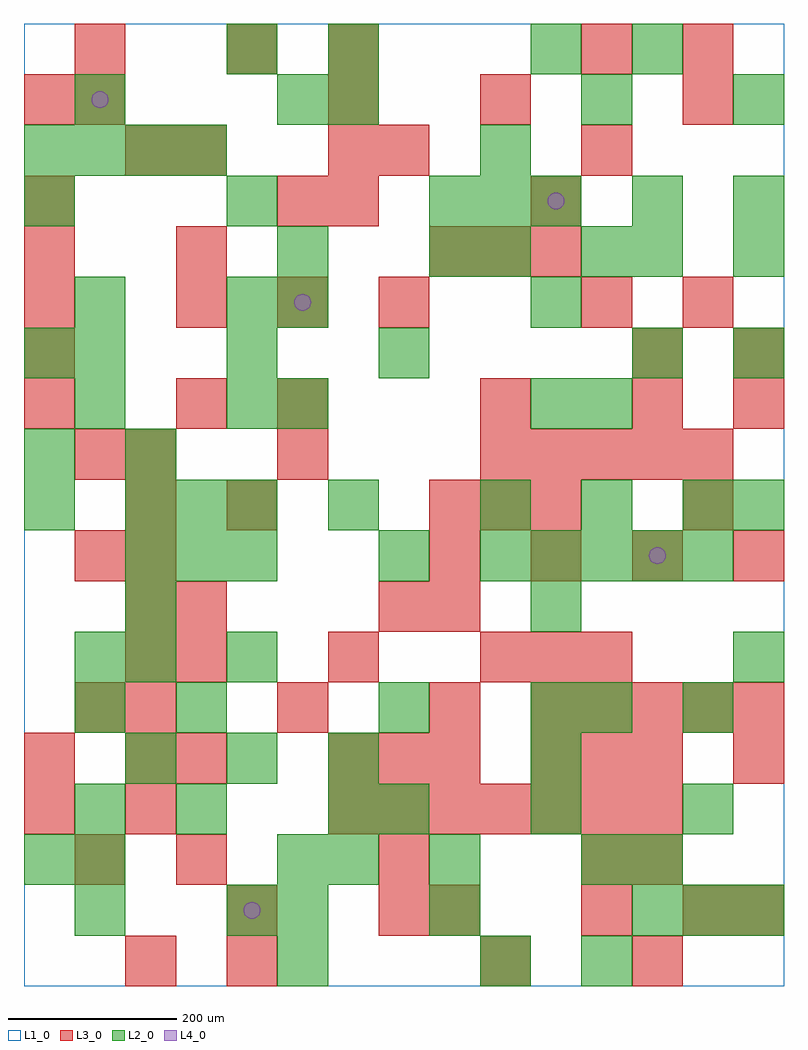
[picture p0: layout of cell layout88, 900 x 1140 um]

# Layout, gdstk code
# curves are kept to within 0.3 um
import gdstk
lib = gdstk.Library(unit=1e-6, precision=1e-09)
def R(c, l, rs):  # rectangles x0, y0, x1, y1
    for r in rs: c.add(gdstk.rectangle(r[:2], r[2:], *l))
def A(c, l, x, y, w, h, nx, ny, dx, dy):  # array of equal rectangles
    R(c, l, [(x+i*dx, y+j*dy, x+i*dx+w, y+j*dy+h) for i in range(nx) for j in range(ny)])
def P(c, l, *ps):  # polygons
    for p in ps: c.add(gdstk.Polygon(p, *l))
L1_0 = (1, 0)
L2_0 = (2, 0)
L3_0 = (3, 0)
L4_0 = (4, 0)

layout88 = lib.new_cell('layout88')
R(layout88, L1_0, [(0,0,900,1140)])
A(layout88, L2_0, 300, 0, 60, 60, 1, 3, 0, 60)
A(layout88, L2_0, 60, 60, 60, 60, 1, 3, 0, 60)
A(layout88, L2_0, 240, 60, 60, 60, 1, 3, 0, 300)
A(layout88, L2_0, 720, 60, 60, 60, 3, 1, 60, 0)
A(layout88, L2_0, 420, 180, 60, 60, 3, 1, 180, 0)
A(layout88, L2_0, 120, 240, 60, 60, 3, 1, 120, 0)
A(layout88, L2_0, 840, 360, 60, 60, 1, 3, 0, 180)
A(layout88, L2_0, 120, 480, 60, 60, 3, 2, 60, 60)
A(layout88, L2_0, 540, 480, 60, 60, 5, 1, 60, 0)
A(layout88, L2_0, 540, 540, 60, 60, 3, 1, 120, 0)
A(layout88, L2_0, 660, 660, 60, 60, 1, 3, 0, 180)
A(layout88, L2_0, 60, 720, 60, 60, 3, 1, 180, 0)
A(layout88, L2_0, 540, 840, 60, 60, 1, 3, 0, 60)
A(layout88, L2_0, 0, 900, 60, 60, 3, 1, 240, 0)
A(layout88, L2_0, 600, 900, 60, 60, 3, 1, 120, 0)
A(layout88, L2_0, 0, 960, 60, 60, 4, 1, 60, 0)
R(layout88, L2_0, [(540,0,600,60), (660,0,720,60), (480,60,540,120), (0,120,60,180), (360,120,420,180), (480,120,540,180), (660,120,720,180), (720,120,780,180), (180,180,240,240), (360,180,420,240), (600,240,660,300), (60,300,120,360), (180,300,240,360), (420,300,480,360), (600,300,660,360), (660,300,720,360), (780,300,840,360), (60,360,120,420), (120,360,180,420), (120,420,180,480), (600,420,660,480), (420,480,480,540), (0,540,60,600), (360,540,420,600), (0,600,60,660), (120,600,180,660), (60,660,120,720), (300,660,360,720), (600,660,660,720), (0,720,60,780), (720,720,780,780), (60,780,120,840), (240,780,300,840), (300,780,360,840), (600,780,660,840), (300,840,360,900), (480,840,540,900), (720,840,780,900), (840,840,900,900), (60,1020,120,1080), (300,1020,360,1080), (360,1020,420,1080), (840,1020,900,1080), (240,1080,300,1140), (360,1080,420,1140), (600,1080,660,1140), (720,1080,780,1140)])
A(layout88, L3_0, 60, 120, 60, 60, 1, 3, 0, 180)
A(layout88, L3_0, 180, 120, 60, 60, 3, 1, 240, 0)
A(layout88, L3_0, 360, 180, 60, 60, 7, 1, 60, 0)
A(layout88, L3_0, 360, 240, 60, 60, 3, 1, 60, 0)
A(layout88, L3_0, 600, 240, 60, 60, 3, 1, 60, 0)
A(layout88, L3_0, 120, 300, 60, 60, 3, 1, 180, 0)
A(layout88, L3_0, 600, 300, 60, 60, 5, 1, 60, 0)
A(layout88, L3_0, 120, 360, 60, 60, 1, 5, 0, 60)
A(layout88, L3_0, 180, 360, 60, 60, 3, 1, 180, 0)
A(layout88, L3_0, 480, 480, 60, 60, 4, 1, 120, 0)
A(layout88, L3_0, 480, 540, 60, 60, 3, 2, 60, 300)
A(layout88, L3_0, 780, 540, 60, 60, 1, 3, 0, 240)
A(layout88, L3_0, 540, 600, 60, 60, 5, 1, 60, 0)
A(layout88, L3_0, 0, 660, 60, 60, 1, 5, 0, 60)
A(layout88, L3_0, 180, 780, 60, 60, 3, 1, 120, 0)
A(layout88, L3_0, 360, 900, 60, 60, 1, 4, 0, 60)
R(layout88, L3_0, [(120,0,180,60), (240,0,300,60), (540,0,600,60), (720,0,780,60), (240,60,300,120), (420,60,480,120), (480,60,540,120), (660,60,720,120), (780,60,840,120), (840,60,900,120), (720,120,780,180), (0,180,60,240), (120,180,180,240), (0,240,60,300), (120,240,180,300), (180,240,240,300), (840,240,900,300), (600,360,660,420), (660,360,720,420), (180,420,240,480), (420,420,480,480), (480,420,540,480), (240,540,300,600), (60,600,120,660), (300,600,360,660), (180,660,240,720), (300,660,360,720), (540,660,600,720), (720,660,780,720), (840,660,900,720), (720,720,780,780), (840,720,900,780), (660,780,720,840), (180,840,240,900), (300,900,360,960), (600,900,660,960), (120,960,180,1020), (180,960,240,1020), (420,960,480,1020), (660,960,720,1020), (0,1020,60,1080), (60,1020,120,1080), (540,1020,600,1080), (60,1080,120,1140), (240,1080,300,1140), (660,1080,720,1140), (780,1080,840,1140)])
P(layout88, L4_0, [(100,1050),(99.239,1053.827),(97.071,1057.071),(93.827,1059.239),(90,1060),(86.173,1059.239),(82.929,1057.071),(80.761,1053.827),(80,1050),(80.761,1046.173),(82.929,1042.929),(86.173,1040.761),(90,1040),(93.827,1040.761),(97.071,1042.929),(99.239,1046.173)],
  [(280,90),(279.239,93.827),(277.071,97.071),(273.827,99.239),(270,100),(266.173,99.239),(262.929,97.071),(260.761,93.827),(260,90),(260.761,86.173),(262.929,82.929),(266.173,80.761),(270,80),(273.827,80.761),(277.071,82.929),(279.239,86.173)],
  [(340,810),(339.239,813.827),(337.071,817.071),(333.827,819.239),(330,820),(326.173,819.239),(322.929,817.071),(320.761,813.827),(320,810),(320.761,806.173),(322.929,802.929),(326.173,800.761),(330,800),(333.827,800.761),(337.071,802.929),(339.239,806.173)],
  [(640,930),(639.239,933.827),(637.071,937.071),(633.827,939.239),(630,940),(626.173,939.239),(622.929,937.071),(620.761,933.827),(620,930),(620.761,926.173),(622.929,922.929),(626.173,920.761),(630,920),(633.827,920.761),(637.071,922.929),(639.239,926.173)],
  [(760,510),(759.239,513.827),(757.071,517.071),(753.827,519.239),(750,520),(746.173,519.239),(742.929,517.071),(740.761,513.827),(740,510),(740.761,506.173),(742.929,502.929),(746.173,500.761),(750,500),(753.827,500.761),(757.071,502.929),(759.239,506.173)])

lib.write_gds('layout88.gds')
